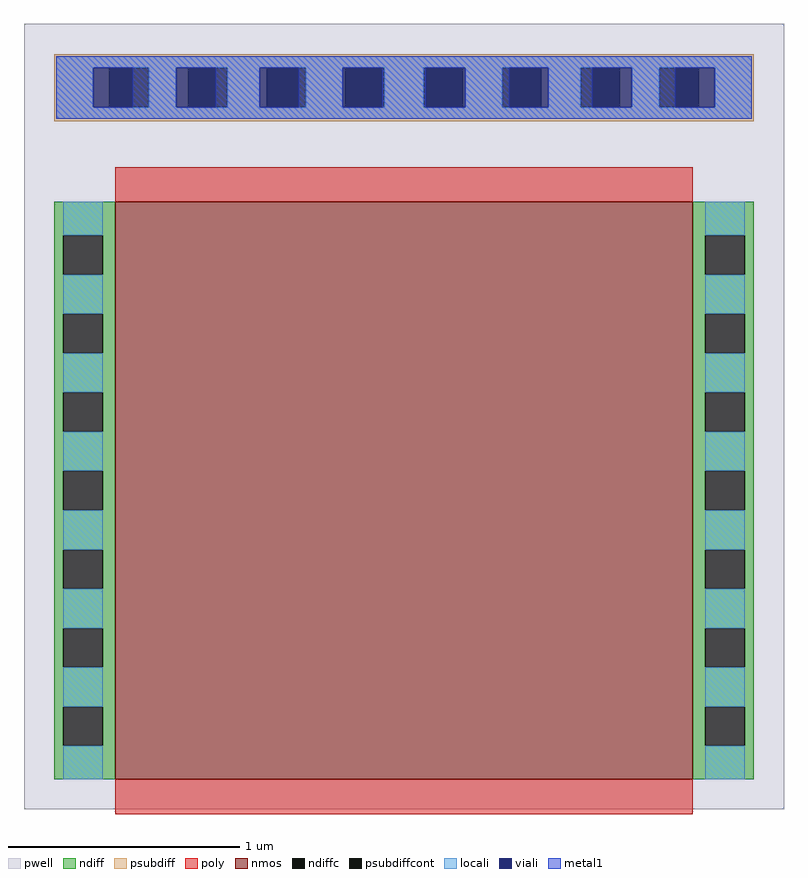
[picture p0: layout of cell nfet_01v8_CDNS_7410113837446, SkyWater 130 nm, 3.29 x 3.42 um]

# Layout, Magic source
magic
tech sky130A
magscale 1 2
<< pwell >>
rect -79 -26 579 654
<< nmos >>
rect 0 0 500 500
<< ndiff >>
rect -53 471 0 500
rect -53 437 -45 471
rect -11 437 0 471
rect -53 403 0 437
rect -53 369 -45 403
rect -11 369 0 403
rect -53 335 0 369
rect -53 301 -45 335
rect -11 301 0 335
rect -53 267 0 301
rect -53 233 -45 267
rect -11 233 0 267
rect -53 199 0 233
rect -53 165 -45 199
rect -11 165 0 199
rect -53 131 0 165
rect -53 97 -45 131
rect -11 97 0 131
rect -53 63 0 97
rect -53 29 -45 63
rect -11 29 0 63
rect -53 0 0 29
rect 500 471 553 500
rect 500 437 511 471
rect 545 437 553 471
rect 500 403 553 437
rect 500 369 511 403
rect 545 369 553 403
rect 500 335 553 369
rect 500 301 511 335
rect 545 301 553 335
rect 500 267 553 301
rect 500 233 511 267
rect 545 233 553 267
rect 500 199 553 233
rect 500 165 511 199
rect 545 165 553 199
rect 500 131 553 165
rect 500 97 511 131
rect 545 97 553 131
rect 500 63 553 97
rect 500 29 511 63
rect 545 29 553 63
rect 500 0 553 29
<< ndiffc >>
rect -45 437 -11 471
rect -45 369 -11 403
rect -45 301 -11 335
rect -45 233 -11 267
rect -45 165 -11 199
rect -45 97 -11 131
rect -45 29 -11 63
rect 511 437 545 471
rect 511 369 545 403
rect 511 301 545 335
rect 511 233 545 267
rect 511 165 545 199
rect 511 97 545 131
rect 511 29 545 63
<< psubdiff >>
rect -53 616 553 628
rect -53 582 -5 616
rect 29 582 63 616
rect 97 582 131 616
rect 165 582 199 616
rect 233 582 267 616
rect 301 582 335 616
rect 369 582 403 616
rect 437 582 471 616
rect 505 582 553 616
rect -53 570 553 582
<< psubdiffcont >>
rect -5 582 29 616
rect 63 582 97 616
rect 131 582 165 616
rect 199 582 233 616
rect 267 582 301 616
rect 335 582 369 616
rect 403 582 437 616
rect 471 582 505 616
<< poly >>
rect 0 500 500 530
rect 0 -30 500 0
<< locali >>
rect -51 616 551 626
rect -51 582 -19 616
rect 29 582 53 616
rect 97 582 125 616
rect 165 582 197 616
rect 233 582 267 616
rect 303 582 335 616
rect 375 582 403 616
rect 447 582 471 616
rect 519 582 551 616
rect -51 572 551 582
rect -45 471 -11 500
rect -45 403 -11 437
rect -45 335 -11 369
rect -45 267 -11 301
rect -45 199 -11 233
rect -45 131 -11 165
rect -45 63 -11 97
rect -45 0 -11 29
rect 511 471 545 500
rect 511 403 545 437
rect 511 335 545 369
rect 511 267 545 301
rect 511 199 545 233
rect 511 131 545 165
rect 511 63 545 97
rect 511 0 545 29
<< viali >>
rect -19 582 -5 616
rect -5 582 15 616
rect 53 582 63 616
rect 63 582 87 616
rect 125 582 131 616
rect 131 582 159 616
rect 197 582 199 616
rect 199 582 231 616
rect 269 582 301 616
rect 301 582 303 616
rect 341 582 369 616
rect 369 582 375 616
rect 413 582 437 616
rect 437 582 447 616
rect 485 582 505 616
rect 505 582 519 616
<< metal1 >>
rect -51 616 551 626
rect -51 582 -19 616
rect 15 582 53 616
rect 87 582 125 616
rect 159 582 197 616
rect 231 582 269 616
rect 303 582 341 616
rect 375 582 413 616
rect 447 582 485 616
rect 519 582 551 616
rect -51 572 551 582
<< end >>
